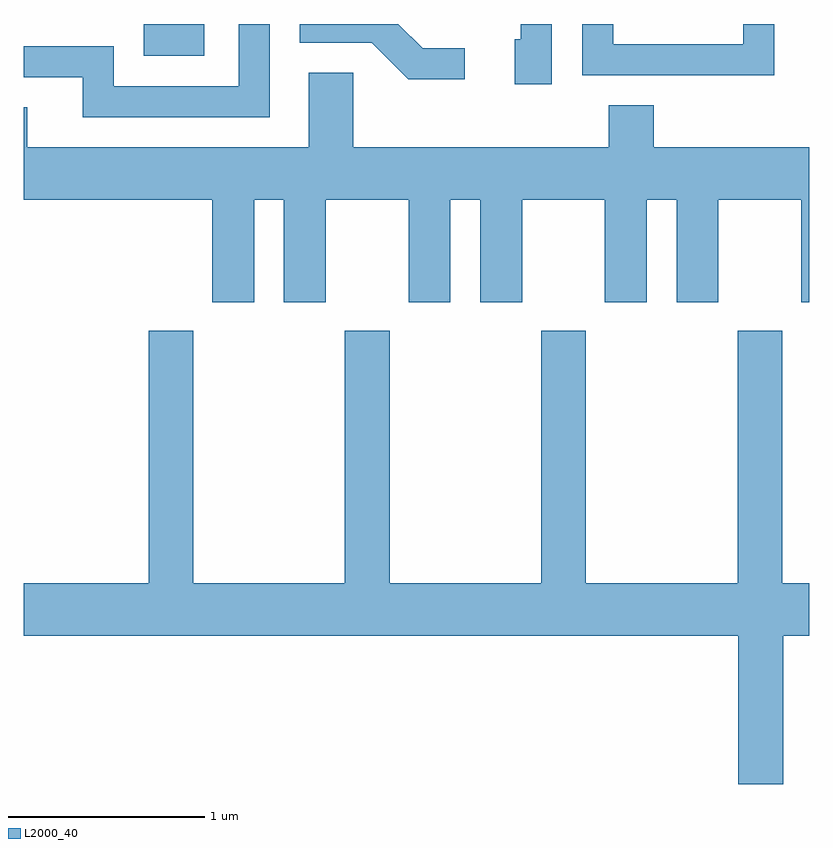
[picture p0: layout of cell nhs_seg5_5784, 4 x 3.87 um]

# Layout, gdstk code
import gdstk
lib = gdstk.Library(unit=1e-6, precision=1e-09)
def R(c, l, rs):  # rectangles x0, y0, x1, y1
    for r in rs: c.add(gdstk.rectangle(r[:2], r[2:], *l))
def P(c, l, *ps):  # polygons
    for p in ps: c.add(gdstk.Polygon(p, *l))
L2000_40 = (2000, 40)

nhs_seg5_5784 = lib.new_cell('nhs_seg5_5784')
R(nhs_seg5_5784, L2000_40, [(356.221,1521.911,356.529,1522.072)])
P(nhs_seg5_5784, L2000_40, [(357.858,1521.949),(357.642,1521.949),(357.519,1522.072),(357.016,1522.072),(357.016,1521.976),(357.384,1521.976),(357.569,1521.791),(357.858,1521.791)],
  [(358.299,1522.072),(358.141,1522.072),(358.141,1521.994),(358.111,1521.994),(358.111,1521.766),(358.299,1521.766)],
  [(356.864,1522.072),(356.706,1522.072),(356.706,1521.754),(356.069,1521.754),(356.069,1521.959),(355.611,1521.959),(355.611,1521.801),(355.911,1521.801),(355.911,1521.596),(356.864,1521.596)],
  [(359.434,1522.072),(359.276,1522.072),(359.276,1521.969),(358.614,1521.969),(358.614,1522.072),(358.456,1522.072),(358.456,1521.811),(359.434,1521.811)],
  [(357.149,1521.176),(357.571,1521.176),(357.571,1520.656),(357.784,1520.656),(357.784,1521.176),(357.936,1521.176),(357.936,1520.656),(358.149,1520.656),(358.149,1521.176),(358.571,1521.176),(358.571,1520.656),(358.784,1520.656),(358.784,1521.176),(358.936,1521.176),(358.936,1520.656),(359.149,1520.656),(359.149,1521.176),(359.571,1521.176),(359.571,1520.656),(359.611,1520.656),(359.611,1521.444),(358.819,1521.444),(358.819,1521.659),(358.591,1521.659),(358.591,1521.444),(357.289,1521.444),(357.289,1521.824),(357.061,1521.824),(357.061,1521.444),(355.629,1521.444),(355.629,1521.649),(355.611,1521.649),(355.611,1521.176),(356.571,1521.176),(356.571,1520.656),(356.784,1520.656),(356.784,1521.176),(356.936,1521.176),(356.936,1520.656),(357.149,1520.656)],
  [(359.479,1518.956),(359.611,1518.956),(359.611,1519.224),(359.474,1519.224),(359.474,1520.509),(359.246,1520.509),(359.246,1519.224),(358.474,1519.224),(358.474,1520.509),(358.246,1520.509),(358.246,1519.224),(357.474,1519.224),(357.474,1520.509),(357.246,1520.509),(357.246,1519.224),(356.474,1519.224),(356.474,1520.509),(356.246,1520.509),(356.246,1519.224),(355.611,1519.224),(355.611,1518.956),(359.251,1518.956),(359.251,1518.201),(359.479,1518.201)])

lib.write_gds('nhs_seg5_5784.gds')
